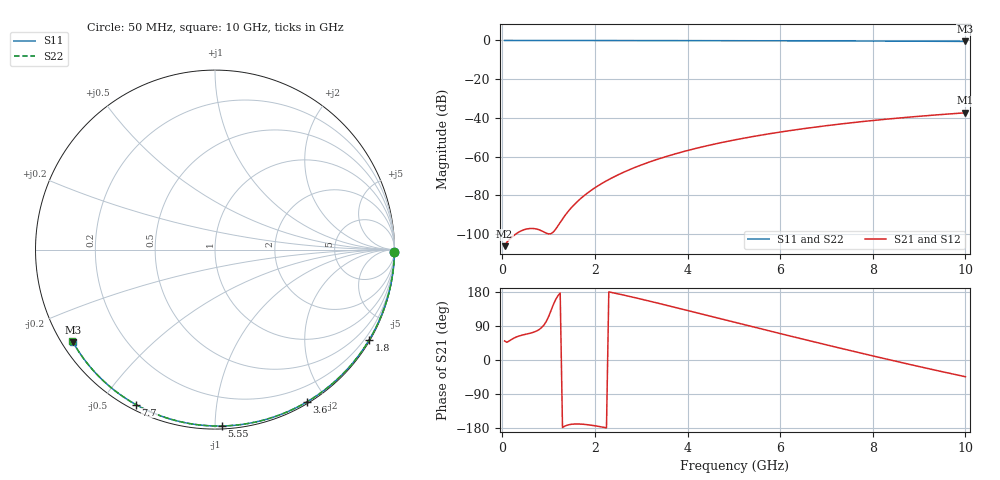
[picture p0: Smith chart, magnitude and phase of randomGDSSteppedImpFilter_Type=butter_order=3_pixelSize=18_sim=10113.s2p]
! freq	dB(S11)	phase(S11)	dB(S12)	phase(S12)
!  dB(S21)	phase(S21)	dB(S22)	phase(S22)
!S-par simulation data
#  GHz  S  DB  R 50
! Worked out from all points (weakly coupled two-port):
!   200 points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, 50 MHz to 10 GHz, reference 50 ohm
!   highest |S21| = -37.36 dB at 10 GHz (marker M1); lowest = -106.3 dB at 50 MHz (marker M2)
!   lowest |S11| = -0.5 dB at 10 GHz (marker M3), VSWR 35.12, Z = 1.55 - j14.9 ohm
!   |S11| at or under -10 dB: nowhere
!   |S22| runs from -0.5 to 0.0 dB; largest |S21 - S12| = 0
!   S11 on the Smith chart (normalised r, x): 50 MHz: open; 1.8 GHz: 0.03, -3.70; 3.6 GHz: 0.02, -1.77; 5.55 GHz: 0.02, -1.04; 7.7 GHz: 0.02, -0.61; 10 GHz: 0.03, -0.30
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0.05  -0.00 -0.9  -106.25 50.3  -106.25 50.3  -0.00 -0.9
0.45  -0.01 -7.7  -97.92 66.3  -97.92 66.3  -0.01 -7.7
0.9  -0.02 -15.3  -98.93 92.5  -98.93 92.5  -0.02 -15.3
1.3  -0.03 -22.0  -92.19 -178.0  -92.19 -178.0  -0.03 -22.0
1.75  -0.04 -29.4  -80.49 -169.6  -80.49 -169.6  -0.04 -29.5
1.8  -0.04 -30.3  -79.52 -170.2  -79.52 -170.2  -0.04 -30.3
1.95  -0.04 -32.7  -76.90 -172.6  -76.90 -172.6  -0.04 -32.8
2.1  -0.04 -35.2  -74.58 -175.6  -74.58 -175.6  -0.04 -35.2
2.3  -0.05 -38.4  -71.83 179.7  -71.83 179.7  -0.05 -38.5
2.5  -0.05 -41.6  -69.40 174.6  -69.40 174.6  -0.05 -41.7
2.9  -0.06 -48.0  -65.24 163.5  -65.24 163.5  -0.06 -48.1
3.4  -0.07 -55.9  -60.98 148.8  -60.98 148.8  -0.07 -56.0
3.6  -0.08 -59.0  -59.50 142.8  -59.50 142.8  -0.08 -59.1
4.3  -0.10 -69.6  -55.05 121.5  -55.05 121.5  -0.10 -69.7
5.05  -0.12 -80.6  -51.22 98.5  -51.22 98.5  -0.12 -80.8
5.55  -0.14 -87.8  -49.05 83.3  -49.05 83.3  -0.14 -87.9
6.1  -0.17 -95.5  -46.95 66.7  -46.95 66.7  -0.17 -95.7
6.7  -0.20 -103.7  -44.93 48.8  -44.93 48.8  -0.20 -103.9
7.7  -0.27 -117.0  -42.09 19.5  -42.09 19.5  -0.27 -117.3
8.35  -0.32 -125.5  -40.53 0.9  -40.53 0.9  -0.32 -125.8
9.2  -0.40 -136.5  -38.78 -22.8  -38.78 -22.8  -0.41 -136.8
10  -0.49 -146.8  -37.36 -44.1  -37.36 -44.1  -0.50 -147.3
